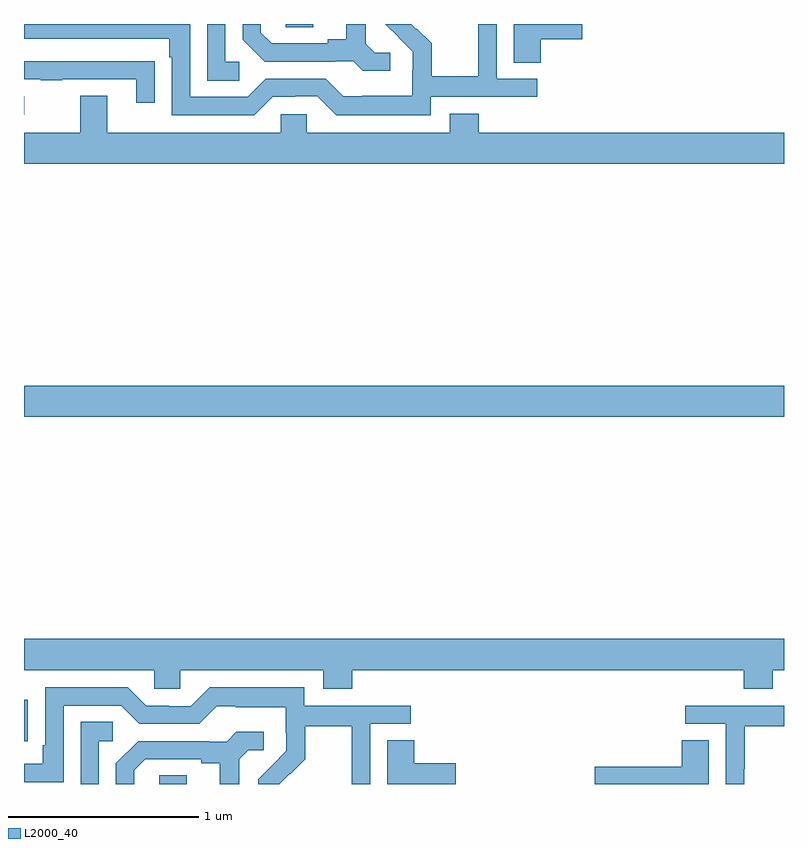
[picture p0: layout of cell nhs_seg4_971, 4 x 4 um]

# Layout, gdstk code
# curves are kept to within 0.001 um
import gdstk
lib = gdstk.Library(unit=1e-6, precision=1e-09)
def R(c, l, rs):  # rectangles x0, y0, x1, y1
    for r in rs: c.add(gdstk.rectangle(r[:2], r[2:], *l))
def P(c, l, *ps):  # polygons
    for p in ps: c.add(gdstk.Polygon(p, *l))
L2000_40 = (2000, 40)

nhs_seg4_971 = lib.new_cell('nhs_seg4_971')
R(nhs_seg4_971, L2000_40, [(161.712,782.9,161.857,782.945), (161,783.124,161.021,783.343), (161,784.832,165,784.996), (161,786.423,161.002,786.519), (162.378,786.883,162.523,786.9)])
P(nhs_seg4_971, L2000_40, [(163.721,786.821),(163.939,786.821),(163.939,786.9),(163.577,786.9),(163.577,786.697),(163.721,786.697)],
  [(163.14,786.516),(163.702,786.516),(163.702,786.612),(163.488,786.612),(163.488,786.9),(163.392,786.9),(163.392,786.848),(163.39,786.848),(163.39,786.625),(163.145,786.625),(163.145,786.799),(163.068,786.876),(163.065,786.873),(163.038,786.9),(162.902,786.9),(163.046,786.754),(163.046,786.657),(163.044,786.657),(163.044,786.523),(162.781,786.523),(162.781,786.519),(162.681,786.519),(162.588,786.612),(162.273,786.612),(162.177,786.516),(161.874,786.516),(161.874,786.9),(161,786.9),(161,786.822),(161.765,786.822),(161.765,786.725),(161.778,786.725),(161.778,786.42),(162.213,786.42),(162.309,786.516),(162.428,786.516),(162.428,786.519),(162.543,786.519),(162.643,786.419),(163.14,786.419)],
  [(162.133,786.702),(162.06,786.702),(162.06,786.9),(161.964,786.9),(161.964,786.601),(162.133,786.601)],
  [(162.928,786.75),(162.846,786.75),(162.799,786.797),(162.799,786.9),(162.695,786.9),(162.695,786.821),(162.599,786.821),(162.599,786.798),(162.304,786.798),(162.247,786.855),(162.247,786.9),(162.15,786.9),(162.15,786.818),(162.266,786.702),(162.638,786.702),(162.638,786.705),(162.732,786.705),(162.784,786.653),(162.928,786.653)],
  [(161.687,786.704),(161.585,786.704),(161.585,786.705),(161,786.705),(161,786.609),(161.089,786.609),(161.089,786.604),(161.201,786.604),(161.201,786.609),(161.591,786.609),(161.591,786.486),(161.687,786.486)],
  [(165,786.328),(163.394,786.328),(163.394,786.427),(163.241,786.427),(163.241,786.328),(162.489,786.328),(162.489,786.426),(162.351,786.426),(162.351,786.328),(161.437,786.328),(161.437,786.523),(161.297,786.523),(161.297,786.328),(161,786.328),(161,786.164),(165,786.164)],
  [(162.728,783.5),(164.789,783.5),(164.789,783.401),(164.941,783.401),(164.941,783.5),(165,783.5),(165,783.664),(161,783.664),(161,783.5),(161.685,783.5),(161.685,783.402),(161.823,783.402),(161.823,783.5),(162.575,783.5),(162.575,783.401),(162.728,783.401)],
  [(162.399,782.955),(162.402,782.952),(162.479,783.029),(162.479,783.204),(162.724,783.204),(162.724,782.98),(162.726,782.98),(162.726,782.9),(162.822,782.9),(162.822,783.216),(163.036,783.216),(163.036,783.312),(162.474,783.312),(162.474,783.409),(161.977,783.409),(161.877,783.309),(161.762,783.309),(161.762,783.312),(161.643,783.312),(161.547,783.408),(161.112,783.408),(161.112,783.103),(161.099,783.103),(161.099,783.006),(161,783.006),(161,782.91),(161.208,782.91),(161.208,783.312),(161.511,783.312),(161.607,783.216),(161.922,783.216),(162.015,783.309),(162.115,783.309),(162.115,783.305),(162.378,783.305),(162.378,783.171),(162.38,783.171),(162.38,783.074),(162.234,782.926),(162.234,782.9),(162.344,782.9)],
  [(164.79,782.98),(164.793,782.98),(164.793,783.204),(165,783.204),(165,783.312),(164.481,783.312),(164.481,783.216),(164.694,783.216),(164.694,782.9),(164.79,782.9)],
  [(161.394,783.126),(161.467,783.126),(161.467,783.227),(161.298,783.227),(161.298,782.9),(161.394,782.9)],
  [(161.581,782.973),(161.638,783.03),(161.933,783.03),(161.933,783.008),(162.029,783.008),(162.029,782.9),(162.133,782.9),(162.133,783.031),(162.18,783.078),(162.262,783.078),(162.262,783.175),(162.118,783.175),(162.066,783.123),(161.972,783.123),(161.972,783.126),(161.6,783.126),(161.484,783.01),(161.484,782.9),(161.581,782.9)],
  [(164.605,783.131),(164.462,783.131),(164.462,782.99),(164.004,782.99),(164.004,782.9),(164.605,782.9)],
  [(163.273,783.008),(163.055,783.008),(163.055,783.131),(162.911,783.131),(162.911,782.9),(163.273,782.9)])

lib.write_gds('nhs_seg4_971.gds')
